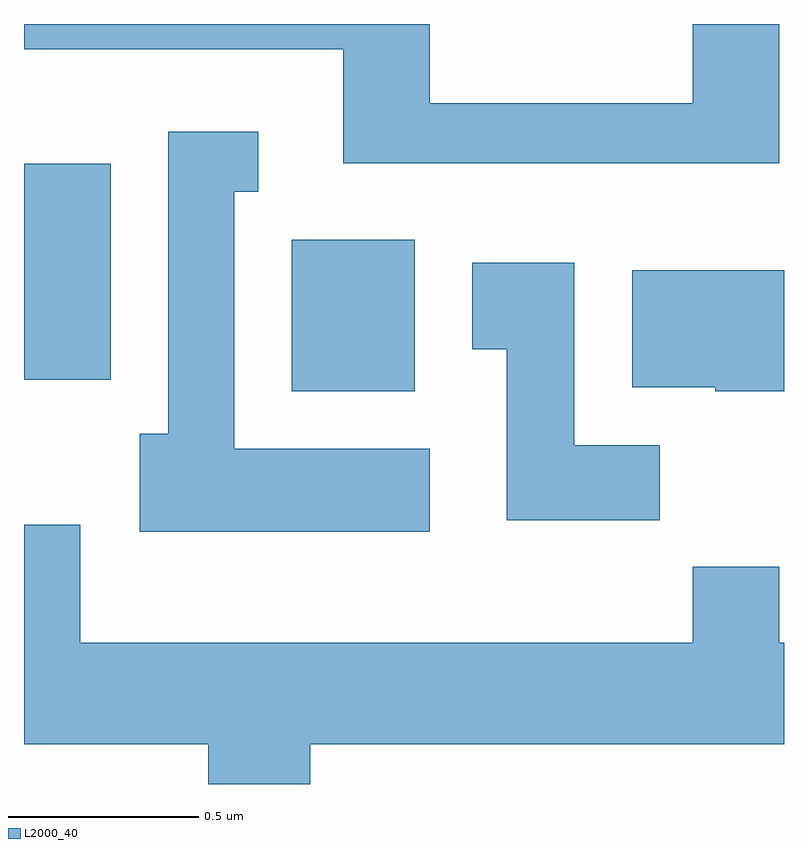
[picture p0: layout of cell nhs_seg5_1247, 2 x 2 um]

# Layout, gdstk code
import gdstk
lib = gdstk.Library(unit=1e-6, precision=1e-09)
def R(c, l, rs):  # rectangles x0, y0, x1, y1
    for r in rs: c.add(gdstk.rectangle(r[:2], r[2:], *l))
def P(c, l, *ps):  # polygons
    for p in ps: c.add(gdstk.Polygon(p, *l))
L2000_40 = (2000, 40)

nhs_seg5_1247 = lib.new_cell('nhs_seg5_1247')
R(nhs_seg5_1247, L2000_40, [(195.316,1411.106,195.639,1411.504), (194.611,1411.136,194.839,1411.704)])
P(nhs_seg5_1247, L2000_40, [(196.599,1412.072),(196.371,1412.072),(196.371,1411.864),(195.679,1411.864),(195.679,1412.072),(194.611,1412.072),(194.611,1412.006),(195.451,1412.006),(195.451,1411.706),(196.599,1411.706)],
  [(195.679,1410.954),(195.164,1410.954),(195.164,1411.631),(195.228,1411.631),(195.228,1411.789),(194.991,1411.789),(194.991,1410.994),(194.916,1410.994),(194.916,1410.736),(195.679,1410.736)],
  [(196.284,1410.964),(196.059,1410.964),(196.059,1411.444),(195.791,1411.444),(195.791,1411.216),(195.881,1411.216),(195.881,1410.766),(196.284,1410.766)],
  [(196.611,1411.424),(196.211,1411.424),(196.211,1411.116),(196.43,1411.116),(196.43,1411.106),(196.611,1411.106)],
  [(195.364,1410.176),(196.611,1410.176),(196.611,1410.444),(196.599,1410.444),(196.599,1410.644),(196.371,1410.644),(196.371,1410.444),(194.759,1410.444),(194.759,1410.754),(194.611,1410.754),(194.611,1410.176),(195.096,1410.176),(195.096,1410.072),(195.364,1410.072)])

lib.write_gds('nhs_seg5_1247.gds')
